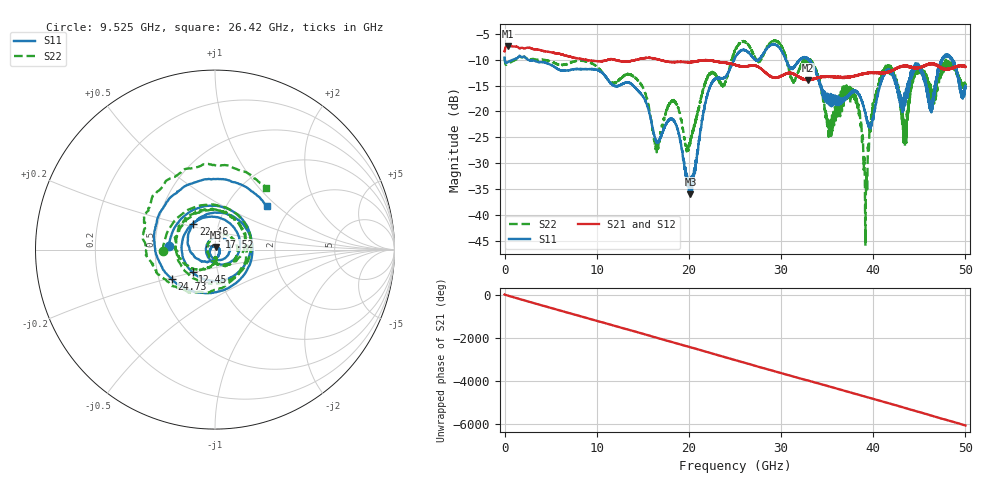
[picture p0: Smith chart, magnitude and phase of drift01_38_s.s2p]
!Created with skrf (http://scikit-rf.org).
# Hz S RI R 50.0
!freq ReS11 ImS11 ReS21 ImS21 ReS12 ImS12 ReS22 ImS22
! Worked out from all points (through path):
!   10001 points, 300 kHz to 50 GHz, reference 50 ohm
!   highest |S21| = -7.33 dB at 325.3 MHz (marker M1); lowest = -14.0 dB at 32.9 GHz (marker M2)
!   group delay of S21, straight-line fit = 335 ps
!   lowest |S11| = -36.0 dB at 20.16 GHz (marker M3), VSWR 1.03, Z = 50.6 + j1.46 ohm
!   |S11| at or under -10 dB: 2.555 GHz to 24.91 GHz (22.36 GHz wide, 163 % of centre); 30.51 GHz to 32.02 GHz (1.518 GHz wide, 4.86 % of centre); 33.06 GHz to 47.44 GHz (14.38 GHz wide, 35.7 % of centre) (the widest 3 of 16)
!   |S22| runs from -46.1 to -6.3 dB; largest |S21 - S12| = 0.0087
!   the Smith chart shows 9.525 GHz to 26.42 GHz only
!   S11 on the Smith chart (normalised r, x): 9.525 GHz: 0.59, +0.03; 12.45 GHz: 0.76, -0.20; 17.52 GHz: 1.04, +0.15; 22.46 GHz: 0.76, +0.22; 24.73 GHz: 0.58, -0.21; 26.42 GHz: 1.53, +0.85
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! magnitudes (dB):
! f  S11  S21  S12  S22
! 300 kHz  -9.6  -8.4  -8.5  -9.5
! 325.3 MHz  -10.5  -7.3  -7.3  -10.9
! 8.335 GHz  -11.8  -9.9  -9.8  -10.2
! 9.525 GHz  -11.8  -10.2  -10.2  -10.8
! 12.45 GHz  -15.0  -10.2  -10.2  -13.9
! 16.67 GHz  -26.0  -10.0  -9.9  -27.1
! 17.52 GHz  -22.5  -10.3  -10.3  -20.0
! 20.16 GHz  -36.0  -10.4  -10.4  -26.1
! 22.46 GHz  -14.6  -10.2  -10.2  -12.6
! 24.73 GHz  -10.7  -10.9  -10.9  -9.6
! 25 GHz  -9.6  -11.0  -11.0  -8.3
! 26.42 GHz  -8.5  -11.2  -11.2  -7.1
! 32.9 GHz  -9.8  -14.0  -13.9  -10.0
! 33.34 GHz  -10.8  -13.8  -13.8  -10.6
! 35.23 GHz  -17.4  -13.3  -13.3  -22.4
! 37.99 GHz  -16.1  -13.2  -13.2  -17.3
! 39.17 GHz  -20.6  -12.6  -12.6  -40.6
! 40.14 GHz  -19.9  -12.5  -12.5  -17.9
! 41.67 GHz  -12.0  -12.4  -12.4  -11.7
! 43.39 GHz  -17.4  -11.3  -11.2  -23.3
! 44.86 GHz  -11.6  -11.7  -11.5  -11.9
! 50 GHz  -15.4  -11.4  -11.3  -15.1
